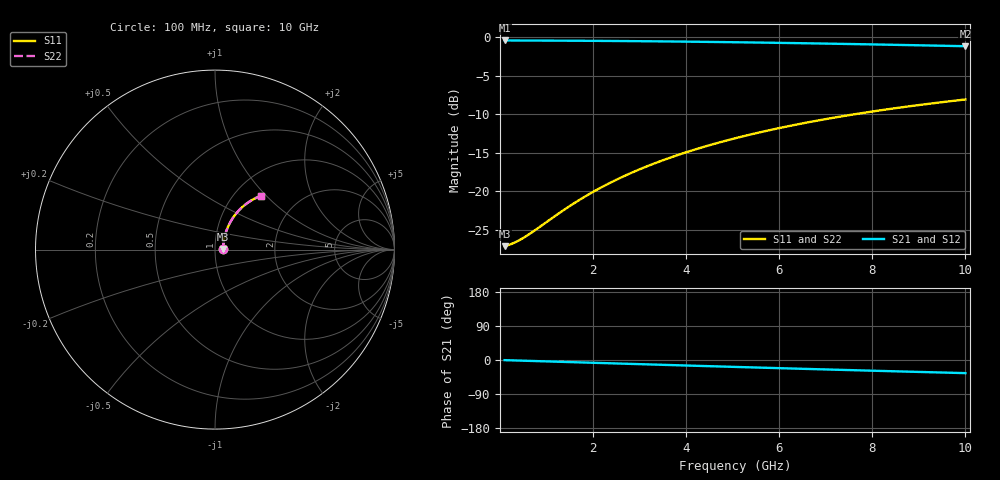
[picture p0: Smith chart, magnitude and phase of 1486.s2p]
# Hz S RI R 50.00
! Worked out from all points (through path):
!   100 points, 100 MHz to 10 GHz, reference 50 ohm
!   highest |S21| = -0.39 dB at 100 MHz (marker M1); lowest = -1.1 dB at 10 GHz (marker M2)
!   group delay of S21, straight-line fit = 9.65 ps
!   lowest |S11| = -27.1 dB at 100 MHz (marker M3), VSWR 1.09, Z = 54.6 + j0.456 ohm
!   |S11| at or under -10 dB: start of sweep to 7.591 GHz
!   |S22| runs from -27.1 to -8.1 dB; largest |S21 - S12| = 0
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1e8  0.044 0.00417  0.956 -0.00613  0.956 -0.00613  0.044 0.00417
2e8  0.0443 0.00832  0.9557 -0.0123  0.9557 -0.0123  0.0443 0.00832
3e8  0.0446 0.0125  0.9553 -0.0184  0.9553 -0.0184  0.0446 0.0125
4e8  0.045 0.0166  0.955 -0.0245  0.955 -0.0245  0.045 0.0166
5e8  0.0454 0.0208  0.9546 -0.0306  0.9546 -0.0306  0.0454 0.0208
7e8  0.0463 0.029  0.9536 -0.0428  0.9536 -0.0428  0.0463 0.029
1.4e9  0.0507 0.0577  0.9489 -0.0852  0.9489 -0.0852  0.0507 0.0577
1.8e9  0.0543 0.0738  0.945 -0.1092  0.945 -0.1092  0.0543 0.0738
2.2e9  0.0587 0.0897  0.9403 -0.1329  0.9403 -0.1329  0.0587 0.0897
2.6e9  0.0639 0.1053  0.9348 -0.1564  0.9348 -0.1564  0.0639 0.1053
3e9  0.0698 0.1205  0.9284 -0.1795  0.9284 -0.1795  0.0698 0.1205
3.4e9  0.0764 0.1353  0.9213 -0.2022  0.9213 -0.2022  0.0764 0.1353
3.8e9  0.0837 0.1498  0.9134 -0.2245  0.9134 -0.2245  0.0837 0.1498
4.2e9  0.0917 0.1637  0.9048 -0.2464  0.9048 -0.2464  0.0917 0.1637
4.6e9  0.1003 0.1772  0.8955 -0.2678  0.8955 -0.2678  0.1003 0.1772
5.1e9  0.1118 0.1933  0.8829 -0.2938  0.8829 -0.2938  0.1118 0.1933
5.9e9  0.1321 0.2172  0.8609 -0.3335  0.8609 -0.3335  0.1321 0.2172
6.7e9  0.1542 0.2387  0.8368 -0.3709  0.8368 -0.3709  0.1542 0.2387
7.5e9  0.1778 0.2576  0.8108 -0.4058  0.8108 -0.4058  0.1778 0.2576
8.4e9  0.2058 0.2758  0.7799 -0.4421  0.7799 -0.4421  0.2058 0.2758
9.2e9  0.2315 0.2893  0.7512 -0.4715  0.7512 -0.4715  0.2315 0.2893
1e10  0.2578 0.3001  0.7217 -0.4985  0.7217 -0.4985  0.2578 0.3001
